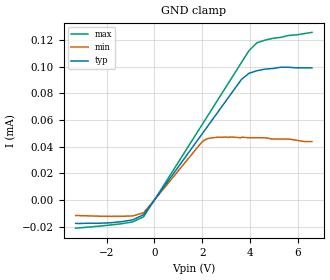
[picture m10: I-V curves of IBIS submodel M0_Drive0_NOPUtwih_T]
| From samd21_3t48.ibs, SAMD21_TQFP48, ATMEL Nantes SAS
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| Submodel
[Submodel]  M0_Drive0_NOPUtwih_T
Submodel_type Dynamic_clamp
[GND Clamp]
| Voltage   I(typ)   I(min)   I(max)
-3.3V     -17.52uA   -11.62uA   -21.1uA
-1.364V   -16.21uA   -12.22uA   -17.76uA
-909.1mV  -14.89uA   -11.95uA   -16.44uA
-454.5mV  -11.05uA   -9.587uA   -12.61uA
2.062V    51.2uA     44.52uA    58.37uA
2.63V     65.28uA    47.09uA    74.42uA
3.65V     90.56uA    47.21uA    103.3uA
3.964V    95.13uA    46.73uA    112.2uA
4.295V    97.04uA    46.73uA    118uA
4.627V    98.23uA    46.73uA    120uA
5.291V    99.66uA    45.78uA    122.1uA
6.6V      99.18uA    43.87uA    125.8uA
